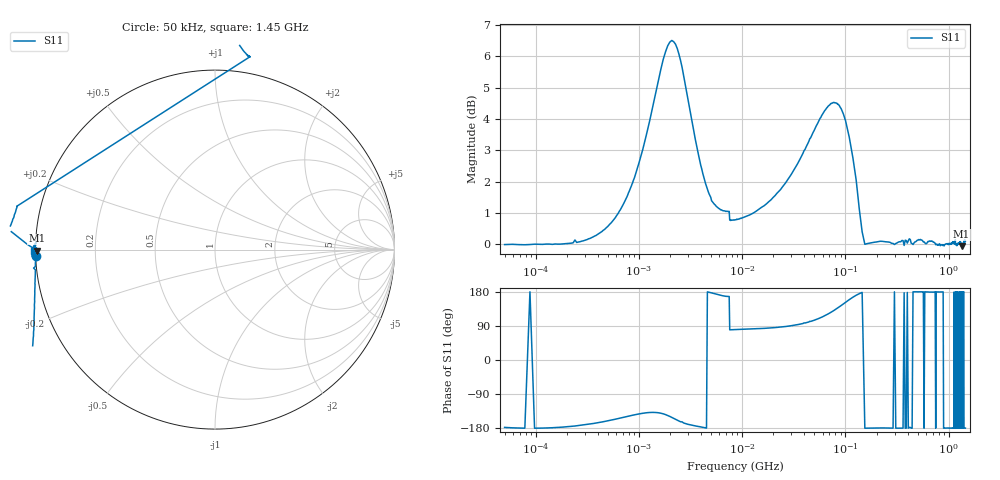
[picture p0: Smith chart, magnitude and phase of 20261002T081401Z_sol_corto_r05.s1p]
! prueba_sol / sol_corto / r05
# HZ S RI R 50
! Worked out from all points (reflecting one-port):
!   501 points, 50 kHz to 1.45 GHz, reference 50 ohm
!   lowest |S11| = -0.1 dB at 1.333 GHz (marker M1), VSWR 287.01, Z = 0.174 - j0.173 ohm
!   phase of S11 starts at -178 deg and turns -2 deg over the sweep
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50000  -0.9982 -0.0377
183000  -1 -0.0512
363500  -1.004 -0.2233
658000  -1.013 -0.5092
1180000  -1.133 -0.9753
1630000  -1.466 -1.212
1990000  -1.8 -1.085
2170000  -1.893 -0.9186
2440000  -1.901 -0.6506
3070000  -1.635 -0.2741
4330000  -1.265 -0.0311
7300000  -1.102 0.2426
7750000  0.1952 1.074
8560000  0.1866 1.078
1.99e7  0.101 1.183
3.16e7  -0.0342 1.313
4.78e7  -0.3429 1.46
6.76e7  -0.8598 1.419
7.93e7  -1.138 1.238
9.37e7  -1.355 0.8997
9.82e7  -1.384 0.7827
1e8  -1.393 0.7389
1.18e8  -1.331 0.3402
1.36e8  -1.135 0.0999
1.63e8  -1.003 -0.0035
4.06e8  -1.013 -0.00444
1.333e9  -0.993 -0.00686
1.45e9  -1.011 -0.00564
